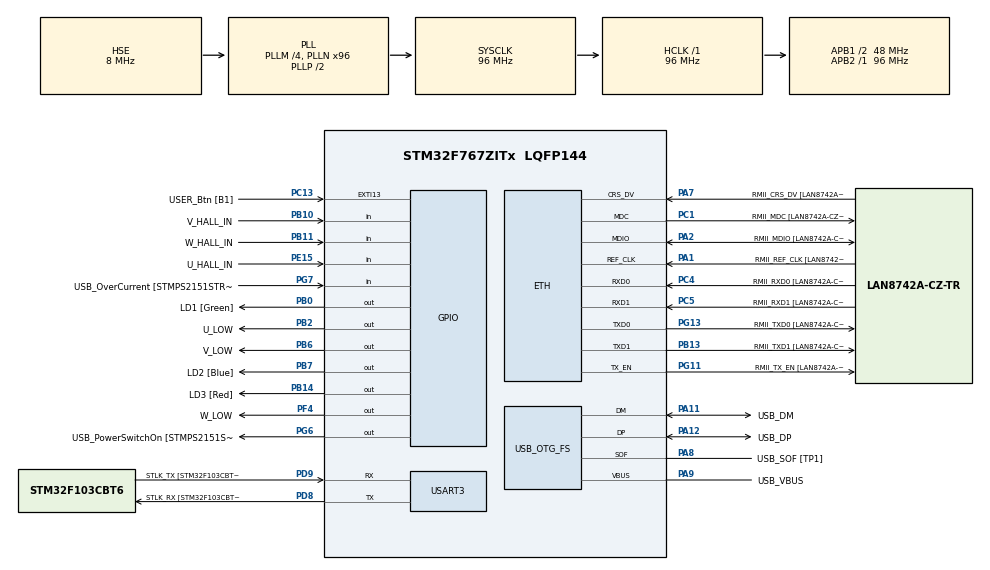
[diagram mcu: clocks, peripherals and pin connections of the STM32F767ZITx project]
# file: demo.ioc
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ETH.MediaInterface=HAL_ETH_RMII_MODE
ETH.PHY_Name=LAN8742A_PHY_ADDRESS
ETH.PHY_Value=0
ETH.PhyAddress=0
LWIP.BSP.number=1
LWIP.GATEWAY_ADDRESS=169.254.000.001
LWIP.IP_ADDRESS=169.254.075.040
LWIP.LWIP_DHCP=0
LWIP.MEM_SIZE=10*1600
LWIP.NETMASK_ADDRESS=255.255.255.000
LWIP.Version=v2.1.2_Cube
LWIP0.BSP.STBoard=false
LWIP0.BSP.api=BSP_COMPONENT_DRIVER
LWIP0.BSP.component=LAN8742
LWIP0.BSP.instance=LAN8742
LWIP0.BSP.name=Driver_PHY
LWIP0.BSP.semaphore=S_LAN8742
LWIP0.BSP.solution=LAN8742
Mcu.Family=STM32F7
Mcu.Name=STM32F767ZITx
Mcu.Package=LQFP144
NVIC.PriorityGroup=NVIC_PRIORITYGROUP_4
PA1.GPIO_Label=RMII_REF_CLK [LAN8742A-CZ-TR_REFCLK0]
PA1.Mode=RMII
PA1.Signal=ETH_REF_CLK
PA10.GPIO_Label=USB_ID
PA10.Signal=USB_OTG_FS_ID
PA11.GPIO_Label=USB_DM
PA11.Mode=Device_Only
PA11.Signal=USB_OTG_FS_DM
PA12.GPIO_Label=USB_DP
PA12.Mode=Device_Only
PA12.Signal=USB_OTG_FS_DP
PA13.GPIO_Label=TMS
PA13.Mode=Serial_Wire
PA13.Signal=SYS_JTMS-SWDIO
PA14.GPIO_Label=TCK
PA14.Mode=Serial_Wire
PA14.Signal=SYS_JTCK-SWCLK
PA2.GPIO_Label=RMII_MDIO [LAN8742A-CZ-TR_MDIO]
PA2.Mode=RMII
PA2.Signal=ETH_MDIO
PA7.GPIO_Label=RMII_CRS_DV [LAN8742A-CZ-TR_CRS_DV]
PA7.Mode=RMII
PA7.Signal=ETH_CRS_DV
PA8.GPIO_Label=USB_SOF [TP1]
PA8.Mode=Activate_SOF_FS
PA8.Signal=USB_OTG_FS_SOF
PA9.GPIO_Label=USB_VBUS
PA9.Mode=Activate_VBUS
PA9.Signal=USB_OTG_FS_VBUS
PB0.GPIO_Label=LD1 [Green]
PB0.Signal=GPIO_Output
PB10.GPIO_Label=V_HALL_IN
PB10.GPIO_PuPd=GPIO_PULLUP
PB10.Signal=GPIO_Input
PB11.GPIO_Label=W_HALL_IN
PB11.GPIO_PuPd=GPIO_PULLUP
PB11.Signal=GPIO_Input
PB13.GPIO_Label=RMII_TXD1 [LAN8742A-CZ-TR_TXD1]
PB13.Mode=RMII
PB13.Signal=ETH_TXD1
PB14.GPIO_Label=LD3 [Red]
PB14.Signal=GPIO_Output
PB2.GPIO_Label=U_LOW
PB2.Signal=GPIO_Output
PB3.GPIO_Label=SWO
PB3.Signal=SYS_JTDO-SWO
PB6.GPIO_Label=V_LOW
PB6.Signal=GPIO_Output
PB7.GPIO_Label=LD2 [Blue]
PB7.Signal=GPIO_Output
PB8.Signal=S_TIM4_CH3
PC1.GPIO_Label=RMII_MDC [LAN8742A-CZ-TR_MDC]
PC1.Mode=RMII
PC1.Signal=ETH_MDC
PC13.GPIO_Label=USER_Btn [B1]
PC13.Signal=GPXTI13
PC14/OSC32_IN.Mode=LSE-External-Oscillator
PC14/OSC32_IN.Signal=RCC_OSC32_IN
PC15/OSC32_OUT.Mode=LSE-External-Oscillator
PC15/OSC32_OUT.Signal=RCC_OSC32_OUT
PC4.GPIO_Label=RMII_RXD0 [LAN8742A-CZ-TR_RXD0]
PC4.Mode=RMII
PC4.Signal=ETH_RXD0
PC5.GPIO_Label=RMII_RXD1 [LAN8742A-CZ-TR_RXD1]
PC5.Mode=RMII
PC5.Signal=ETH_RXD1
PD8.GPIO_Label=STLK_RX [STM32F103CBT6_PA3]
PD8.Mode=Asynchronous
PD8.Signal=USART3_TX
PD9.GPIO_Label=STLK_TX [STM32F103CBT6_PA2]
PD9.Mode=Asynchronous
PD9.Signal=USART3_RX
PE15.GPIO_Label=U_HALL_IN
PE15.Signal=GPIO_Input
PF4.GPIO_Label=W_LOW
PF4.GPIO_PuPd=GPIO_PULLUP
PF4.Signal=GPIO_Output
PG11.GPIO_Label=RMII_TX_EN [LAN8742A-CZ-TR_TXEN]
PG11.Mode=RMII
PG11.Signal=ETH_TX_EN
PG13.GPIO_Label=RMII_TXD0 [LAN8742A-CZ-TR_TXD0]
PG13.Mode=RMII
PG13.Signal=ETH_TXD0
PG6.GPIO_Label=USB_PowerSwitchOn [STMPS2151STR_EN]
PG6.Signal=GPIO_Output
PG7.GPIO_Label=USB_OverCurrent [STMPS2151STR_FAULT]
PG7.Signal=GPIO_Input
PH0/OSC_IN.GPIO_Label=MCO [STM32F103CBT6_PA8]
PH0/OSC_IN.Mode=HSE-External-Clock-Source
PH0/OSC_IN.Signal=RCC_OSC_IN
PH1/OSC_OUT.Mode=HSE-External-Clock-Source
PH1/OSC_OUT.Signal=RCC_OSC_OUT
ProjectManager.HeapSize=0x200
ProjectManager.StackSize=0x400
ProjectManager.TargetToolchain=STM32CubeIDE
RCC.48MHZClocksFreq_Value=24000000
RCC.AHBFreq_Value=96000000
RCC.APB1CLKDivider=RCC_HCLK_DIV2
RCC.APB1Freq_Value=48000000
RCC.APB1TimFreq_Value=96000000
RCC.APB2Freq_Value=96000000
RCC.APB2TimFreq_Value=96000000
RCC.CortexFreq_Value=96000000
RCC.HCLKFreq_Value=96000000
RCC.HSE_VALUE=8000000
RCC.HSI_VALUE=16000000
RCC.PLLM=4
RCC.PLLMUL=RCC_PLL_MUL9
RCC.PLLN=96
RCC.PLLQ=4
RCC.PRESCALERUSB=RCC_USBCLKSOURCE_PLL_DIV1_5
RCC.SYSCLKFreq_VALUE=96000000
RCC.SYSCLKSource=RCC_SYSCLKSOURCE_PLLCLK
RCC.SYSCLKSourceVirtual=RCC_SYSCLKSOURCE_PLLCLK
RCC.USBFreq_Value=48000000
RCC.VCOOutputFreq_Value=192000000
SH.S_TIM4_CH3.0=TIM4_CH3
USART3.VirtualMode-Asynchronous=VM_ASYNC
USB_OTG_FS.VirtualMode=Device_Only
VP_LWIP_VS_Enabled.Mode=Enabled
board=NUCLEO-F767ZI

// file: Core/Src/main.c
/* USER CODE BEGIN Header */
/**
  ******************************************************************************
  * @file           : main.c
  * @brief          : Main program body
  ******************************************************************************
  * @attention
  *
  * Copyright (c) 2023 STMicroelectronics.
  * All rights reserved.
  *
  * This software is licensed under terms that can be found in the LICENSE file
  * in the root directory of this software component.
  * If no LICENSE file comes with this software, it is provided AS-IS.
  *
  ******************************************************************************
  */
/* USER CODE END Header */
#include "main.h"
#include "lwip.h"
#include "voyager.h"

/* USER CODE BEGIN Includes */
#include "igmp.h"
#include "udp.h"

/* USER CODE END Includes */

/* USER CODE BEGIN PD */
#define UDP_SERVER_PORT (5000)
/* USER CODE END PD */

UART_HandleTypeDef huart3;

PCD_HandleTypeDef hpcd_USB_OTG_FS;

struct udp_pcb* upcb_udp_server;
ip_addr_t server_ip_addr = {0};
u16_t server_port = {0};
bool server_connected = false;

/* USER CODE BEGIN PV */
extern struct netif gnetif;
/* USER CODE END PV */

void SystemClock_Config(void);
static void MX_GPIO_Init(void);
static void MX_USART3_UART_Init(void);
static void MX_USB_OTG_FS_PCD_Init(void);
/* USER CODE BEGIN PFP */
void udpServerInit(void);
void udp_receive_callback(void *arg, struct udp_pcb *upcb, struct pbuf *p, const ip_addr_t *addr, u16_t port);
/* USER CODE END PFP */

/* USER CODE BEGIN 0 */
void udpServerInit(void)
{
    upcb_udp_server = udp_new();
    err_t err;
    ip_addr_t ip_addr = gnetif.ip_addr;
    err = udp_bind(upcb_udp_server, &ip_addr, UDP_SERVER_PORT);

    if (err == ERR_OK) {
        udp_recv(upcb_udp_server, udp_receive_callback, NULL);
    }
    else {
        udp_remove(upcb_udp_server);
    }
}

void udp_receive_callback(void *arg, struct udp_pcb *upcb, struct pbuf *p, const ip_addr_t *addr, u16_t port)
{
  server_connected = true;
  server_ip_addr = *addr;
  server_port = port;
  // Hook into process received data
  voyager_bootloader_process_receieved_packet(p->payload, p->len);
  pbuf_free(p);
}
/* USER CODE END 0 */

int main(void)
{

  /* MCU Configuration--------------------------------------------------------*/

  /* Reset of all peripherals, Initializes the Flash interface and the Systick. */
  HAL_Init();

  /* Configure the system clock */
  SystemClock_Config();

  /* Initialize all configured peripherals */
  MX_GPIO_Init();
  MX_USART3_UART_Init();
  MX_USB_OTG_FS_PCD_Init();
  MX_LWIP_Init();
  /* USER CODE BEGIN 2 */
  udpServerInit();
  voyager_bootloader_init();

  // For this application, we unlock DFU mode instantly
  voyager_bootloader_request(VOYAGER_REQUEST_ENTER_DFU);

  /* USER CODE END 2 */

  /* Infinite loop */
  /* USER CODE BEGIN WHILE */
  while (1)
  {
    MX_LWIP_Process();
    voyager_bootloader_run();
    /* USER CODE END WHILE */

  }
}

void SystemClock_Config(void)
{
  RCC_OscInitTypeDef RCC_OscInitStruct = {0};
  RCC_ClkInitTypeDef RCC_ClkInitStruct = {0};

  /** Configure LSE Drive Capability
  */
  HAL_PWR_EnableBkUpAccess();

  /** Configure the main internal regulator output voltage
  */
  __HAL_RCC_PWR_CLK_ENABLE();
  __HAL_PWR_VOLTAGESCALING_CONFIG(PWR_REGULATOR_VOLTAGE_SCALE3);

  /** Initializes the RCC Oscillators according to the specified parameters
  * in the RCC_OscInitTypeDef structure.
  */
  RCC_OscInitStruct.OscillatorType = RCC_OSCILLATORTYPE_HSE;
  RCC_OscInitStruct.HSEState = RCC_HSE_BYPASS;
  RCC_OscInitStruct.PLL.PLLState = RCC_PLL_ON;
  RCC_OscInitStruct.PLL.PLLSource = RCC_PLLSOURCE_HSE;
  RCC_OscInitStruct.PLL.PLLM = 4;
  RCC_OscInitStruct.PLL.PLLN = 96;
  RCC_OscInitStruct.PLL.PLLP = RCC_PLLP_DIV2;
  RCC_OscInitStruct.PLL.PLLQ = 4;
  RCC_OscInitStruct.PLL.PLLR = 2;
  if (HAL_RCC_OscConfig(&RCC_OscInitStruct) != HAL_OK)
  {
    Error_Handler();
  }

  /** Activate the Over-Drive mode
  */
  if (HAL_PWREx_EnableOverDrive() != HAL_OK)
  {
    Error_Handler();
  }

  /** Initializes the CPU, AHB and APB buses clocks
  */
  RCC_ClkInitStruct.ClockType = RCC_CLOCKTYPE_HCLK|RCC_CLOCKTYPE_SYSCLK
                              |RCC_CLOCKTYPE_PCLK1|RCC_CLOCKTYPE_PCLK2;
  RCC_ClkInitStruct.SYSCLKSource = RCC_SYSCLKSOURCE_PLLCLK;
  RCC_ClkInitStruct.AHBCLKDivider = RCC_SYSCLK_DIV1;
  RCC_ClkInitStruct.APB1CLKDivider = RCC_HCLK_DIV2;
  RCC_ClkInitStruct.APB2CLKDivider = RCC_HCLK_DIV1;

  if (HAL_RCC_ClockConfig(&RCC_ClkInitStruct, FLASH_LATENCY_3) != HAL_OK)
  {
    Error_Handler();
  }
}

static void MX_USART3_UART_Init(void)
{

  huart3.Instance = USART3;
  huart3.Init.BaudRate = 115200;
  huart3.Init.WordLength = UART_WORDLENGTH_8B;
  huart3.Init.StopBits = UART_STOPBITS_1;
  huart3.Init.Parity = UART_PARITY_NONE;
  huart3.Init.Mode = UART_MODE_TX_RX;
  huart3.Init.HwFlowCtl = UART_HWCONTROL_NONE;
  huart3.Init.OverSampling = UART_OVERSAMPLING_16;
  huart3.Init.OneBitSampling = UART_ONE_BIT_SAMPLE_DISABLE;
  huart3.AdvancedInit.AdvFeatureInit = UART_ADVFEATURE_NO_INIT;
  if (HAL_UART_Init(&huart3) != HAL_OK)
  {
    Error_Handler();
  }

}

static void MX_USB_OTG_FS_PCD_Init(void)
{

  hpcd_USB_OTG_FS.Instance = USB_OTG_FS;
  hpcd_USB_OTG_FS.Init.dev_endpoints = 6;
  hpcd_USB_OTG_FS.Init.speed = PCD_SPEED_FULL;
  hpcd_USB_OTG_FS.Init.dma_enable = DISABLE;
  hpcd_USB_OTG_FS.Init.phy_itface = PCD_PHY_EMBEDDED;
  hpcd_USB_OTG_FS.Init.Sof_enable = ENABLE;
  hpcd_USB_OTG_FS.Init.low_power_enable = DISABLE;
  hpcd_USB_OTG_FS.Init.lpm_enable = DISABLE;
  hpcd_USB_OTG_FS.Init.vbus_sensing_enable = ENABLE;
  hpcd_USB_OTG_FS.Init.use_dedicated_ep1 = DISABLE;
  if (HAL_PCD_Init(&hpcd_USB_OTG_FS) != HAL_OK)
  {
    Error_Handler();
  }

}

static void MX_GPIO_Init(void)
{
  GPIO_InitTypeDef GPIO_InitStruct = {0};

  /* GPIO Ports Clock Enable */
  __HAL_RCC_GPIOC_CLK_ENABLE();
  __HAL_RCC_GPIOF_CLK_ENABLE();
  __HAL_RCC_GPIOH_CLK_ENABLE();
  __HAL_RCC_GPIOA_CLK_ENABLE();
  __HAL_RCC_GPIOB_CLK_ENABLE();
  __HAL_RCC_GPIOE_CLK_ENABLE();
  __HAL_RCC_GPIOD_CLK_ENABLE();
  __HAL_RCC_GPIOG_CLK_ENABLE();

  /*Configure GPIO pin Output Level */
  HAL_GPIO_WritePin(W_LOW_GPIO_Port, W_LOW_Pin, GPIO_PIN_RESET);

  /*Configure GPIO pin Output Level */
  HAL_GPIO_WritePin(GPIOB, LD1_Pin|U_LOW_Pin|LD3_Pin|V_LOW_Pin
                          |LD2_Pin, GPIO_PIN_RESET);

  /*Configure GPIO pin Output Level */
  HAL_GPIO_WritePin(USB_PowerSwitchOn_GPIO_Port, USB_PowerSwitchOn_Pin, GPIO_PIN_RESET);

  /*Configure GPIO pin : USER_Btn_Pin */
  GPIO_InitStruct.Pin = USER_Btn_Pin;
  GPIO_InitStruct.Mode = GPIO_MODE_IT_RISING;
  GPIO_InitStruct.Pull = GPIO_NOPULL;
  HAL_GPIO_Init(USER_Btn_GPIO_Port, &GPIO_InitStruct);

  /*Configure GPIO pin : W_LOW_Pin */
  GPIO_InitStruct.Pin = W_LOW_Pin;
  GPIO_InitStruct.Mode = GPIO_MODE_OUTPUT_PP;
  GPIO_InitStruct.Pull = GPIO_PULLUP;
  GPIO_InitStruct.Speed = GPIO_SPEED_FREQ_LOW;
  HAL_GPIO_Init(W_LOW_GPIO_Port, &GPIO_InitStruct);

  /*Configure GPIO pins : LD1_Pin U_LOW_Pin LD3_Pin V_LOW_Pin
                           LD2_Pin */
  GPIO_InitStruct.Pin = LD1_Pin|U_LOW_Pin|LD3_Pin|V_LOW_Pin
                          |LD2_Pin;
  GPIO_InitStruct.Mode = GPIO_MODE_OUTPUT_PP;
  GPIO_InitStruct.Pull = GPIO_NOPULL;
  GPIO_InitStruct.Speed = GPIO_SPEED_FREQ_LOW;
  HAL_GPIO_Init(GPIOB, &GPIO_InitStruct);

  /*Configure GPIO pin : U_HALL_IN_Pin */
  GPIO_InitStruct.Pin = U_HALL_IN_Pin;
  GPIO_InitStruct.Mode = GPIO_MODE_INPUT;
  GPIO_InitStruct.Pull = GPIO_NOPULL;
  HAL_GPIO_Init(U_HALL_IN_GPIO_Port, &GPIO_InitStruct);

  /*Configure GPIO pins : V_HALL_IN_Pin W_HALL_IN_Pin */
  GPIO_InitStruct.Pin = V_HALL_IN_Pin|W_HALL_IN_Pin;
  GPIO_InitStruct.Mode = GPIO_MODE_INPUT;
  GPIO_InitStruct.Pull = GPIO_PULLUP;
  HAL_GPIO_Init(GPIOB, &GPIO_InitStruct);

  /*Configure GPIO pin : USB_PowerSwitchOn_Pin */
  GPIO_InitStruct.Pin = USB_PowerSwitchOn_Pin;
  GPIO_InitStruct.Mode = GPIO_MODE_OUTPUT_PP;
  GPIO_InitStruct.Pull = GPIO_NOPULL;
  GPIO_InitStruct.Speed = GPIO_SPEED_FREQ_LOW;
  HAL_GPIO_Init(USB_PowerSwitchOn_GPIO_Port, &GPIO_InitStruct);

  /*Configure GPIO pin : USB_OverCurrent_Pin */
  GPIO_InitStruct.Pin = USB_OverCurrent_Pin;
  GPIO_InitStruct.Mode = GPIO_MODE_INPUT;
  GPIO_InitStruct.Pull = GPIO_NOPULL;
  HAL_GPIO_Init(USB_OverCurrent_GPIO_Port, &GPIO_InitStruct);

  /*Configure GPIO pin : PB8 */
  GPIO_InitStruct.Pin = GPIO_PIN_8;
  GPIO_InitStruct.Mode = GPIO_MODE_AF_PP;
  GPIO_InitStruct.Pull = GPIO_NOPULL;
  GPIO_InitStruct.Speed = GPIO_SPEED_FREQ_LOW;
  GPIO_InitStruct.Alternate = GPIO_AF2_TIM4;
  HAL_GPIO_Init(GPIOB, &GPIO_InitStruct);

}

void Error_Handler(void)
{
  __disable_irq();
  while (1)
  {
  }
}
